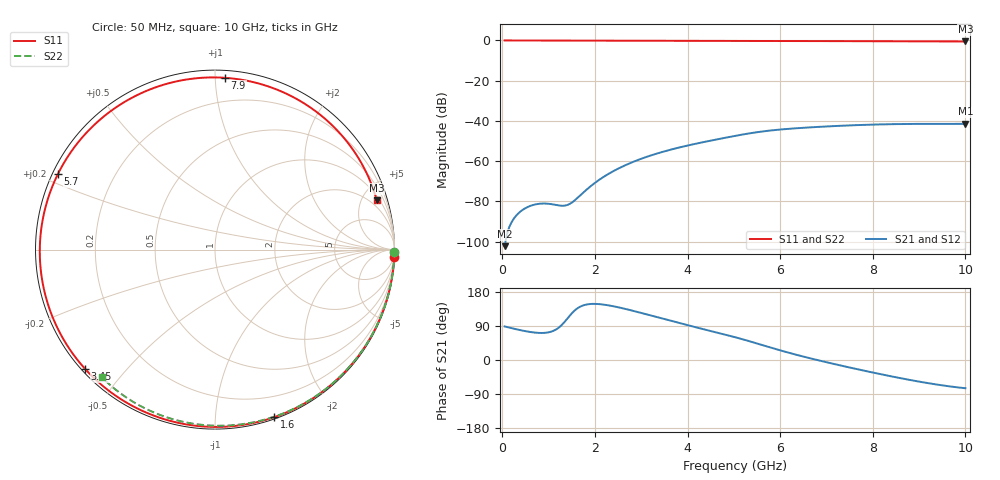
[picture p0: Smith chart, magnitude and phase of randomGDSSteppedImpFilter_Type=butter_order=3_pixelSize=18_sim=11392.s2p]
! freq	dB(S11)	phase(S11)	dB(S12)	phase(S12)
!  dB(S21)	phase(S21)	dB(S22)	phase(S22)
!S-par simulation data
#  GHz  S  DB  R 50
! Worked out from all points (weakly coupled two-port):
!   200 points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, 50 MHz to 10 GHz, reference 50 ohm
!   highest |S21| = -41.45 dB at 10 GHz (marker M1); lowest = -102.3 dB at 50 MHz (marker M2)
!   lowest |S11| = -0.5 dB at 10 GHz (marker M3), VSWR 33.64, Z = 65.4 + j322 ohm
!   |S11| at or under -10 dB: nowhere
!   |S22| runs from -0.4 to 0.0 dB; largest |S21 - S12| = 0
!   S11 on the Smith chart (normalised r, x): 50 MHz: 0, -49; 1.6 GHz: 0.01, -1.41; 3.45 GHz: 0.01, -0.39; 5.7 GHz: 0.02, +0.23; 7.9 GHz: 0.04, +1.06; 10 GHz: 1.31, +6.43
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0.05  -0.00 -2.3  -102.28 88.6  -102.28 88.6  -0.00 -0.8
0.4  -0.03 -18.4  -84.90 78.5  -84.90 78.5  -0.01 -6.1
0.75  -0.04 -34.2  -81.36 71.8  -81.36 71.8  -0.01 -11.3
1.15  -0.06 -51.8  -81.74 79.8  -81.74 79.8  -0.02 -17.3
1.5  -0.08 -66.5  -80.64 123.0  -80.64 123.0  -0.03 -22.5
1.6  -0.08 -70.6  -78.77 134.4  -78.77 134.4  -0.03 -24.0
1.75  -0.09 -76.7  -75.61 144.2  -75.61 144.2  -0.03 -26.2
2.1  -0.10 -90.3  -69.16 147.4  -69.16 147.4  -0.04 -31.3
2.45  -0.12 -103.3  -64.34 140.5  -64.34 140.5  -0.05 -36.4
2.9  -0.13 -119.2  -59.69 127.4  -59.69 127.4  -0.06 -42.9
3.4  -0.15 -135.8  -55.80 111.2  -55.80 111.2  -0.07 -49.9
3.45  -0.15 -137.5  -55.47 109.5  -55.47 109.5  -0.07 -50.6
4.25  -0.18 -162.5  -50.99 84.2  -50.99 84.2  -0.09 -61.6
5.05  -0.22 173.6  -47.34 59.4  -47.34 59.4  -0.11 -72.2
5.7  -0.25 154.4  -45.01 36.3  -45.01 36.3  -0.13 -80.6
6.7  -0.31 124.3  -43.14 2.9  -43.14 2.9  -0.18 -93.1
7.3  -0.34 105.7  -42.42 -14.3  -42.42 -14.3  -0.21 -100.3
7.9  -0.37 86.7  -41.90 -30.5  -41.90 -30.5  -0.25 -107.4
8.35  -0.39 72.0  -41.64 -41.9  -41.64 -41.9  -0.29 -112.7
8.8  -0.41 57.2  -41.51 -52.6  -41.51 -52.6  -0.32 -117.8
9.25  -0.44 42.2  -41.49 -62.2  -41.49 -62.2  -0.37 -123.0
10  -0.52 17.0  -41.45 -74.5  -41.45 -74.5  -0.44 -131.5
